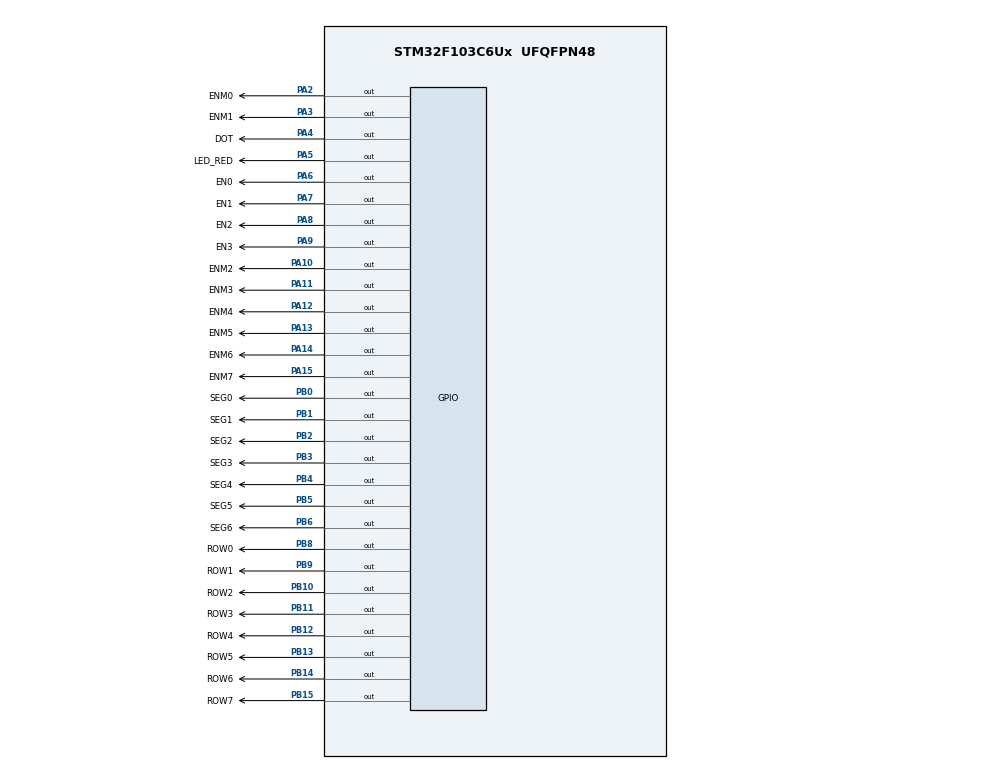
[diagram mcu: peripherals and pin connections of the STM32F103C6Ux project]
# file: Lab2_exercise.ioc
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Mcu.Family=STM32F1
Mcu.Name=STM32F103C6Ux
Mcu.Package=UFQFPN48
NVIC.PriorityGroup=NVIC_PRIORITYGROUP_4
NVIC.TIM2_IRQn=true\:0\:0\:false\:false\:true\:true\:true
PA10.GPIO_Label=ENM2
PA10.Signal=GPIO_Output
PA11.GPIO_Label=ENM3
PA11.Signal=GPIO_Output
PA12.GPIO_Label=ENM4
PA12.Signal=GPIO_Output
PA13.GPIO_Label=ENM5
PA13.Signal=GPIO_Output
PA14.GPIO_Label=ENM6
PA14.Signal=GPIO_Output
PA15.GPIO_Label=ENM7
PA15.Signal=GPIO_Output
PA2.GPIO_Label=ENM0
PA2.Signal=GPIO_Output
PA3.GPIO_Label=ENM1
PA3.Signal=GPIO_Output
PA4.GPIO_Label=DOT
PA4.Signal=GPIO_Output
PA5.GPIO_Label=LED_RED
PA5.Signal=GPIO_Output
PA6.GPIO_Label=EN0
PA6.Signal=GPIO_Output
PA7.GPIO_Label=EN1
PA7.Signal=GPIO_Output
PA8.GPIO_Label=EN2
PA8.Signal=GPIO_Output
PA9.GPIO_Label=EN3
PA9.Signal=GPIO_Output
PB0.GPIO_Label=SEG0
PB0.Signal=GPIO_Output
PB1.GPIO_Label=SEG1
PB1.Signal=GPIO_Output
PB10.GPIO_Label=ROW2
PB10.Signal=GPIO_Output
PB11.GPIO_Label=ROW3
PB11.Signal=GPIO_Output
PB12.GPIO_Label=ROW4
PB12.Signal=GPIO_Output
PB13.GPIO_Label=ROW5
PB13.Signal=GPIO_Output
PB14.GPIO_Label=ROW6
PB14.Signal=GPIO_Output
PB15.GPIO_Label=ROW7
PB15.Signal=GPIO_Output
PB2.GPIO_Label=SEG2
PB2.Signal=GPIO_Output
PB3.GPIO_Label=SEG3
PB3.Signal=GPIO_Output
PB4.GPIO_Label=SEG4
PB4.Signal=GPIO_Output
PB5.GPIO_Label=SEG5
PB5.Signal=GPIO_Output
PB6.GPIO_Label=SEG6
PB6.Signal=GPIO_Output
PB8.GPIO_Label=ROW0
PB8.Signal=GPIO_Output
PB9.GPIO_Label=ROW1
PB9.Signal=GPIO_Output
ProjectManager.HeapSize=0x200
ProjectManager.StackSize=0x400
ProjectManager.TargetToolchain=STM32CubeIDE
RCC.APB1Freq_Value=8000000
RCC.APB2Freq_Value=8000000
TIM2.Period=9
TIM2.Prescaler=7999
VP_SYS_VS_ND.Mode=No_Debug
VP_TIM2_VS_ClockSourceINT.Mode=Internal
board=custom

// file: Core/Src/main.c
/* USER CODE BEGIN Header */
/**
  ******************************************************************************
  * @file           : main.c
  * @brief          : Main program body
  ******************************************************************************
  * @attention
  *
  * <h2><center>&copy; Copyright (c) 2023 STMicroelectronics.
  * All rights reserved.</center></h2>
  *
  * This software component is licensed by ST under BSD 3-Clause license,
  * the "License"; You may not use this file except in compliance with the
  * License. You may obtain a copy of the License at:
  *                        opensource.org/licenses/BSD-3-Clause
  *
  ******************************************************************************
  */
/* USER CODE END Header */
#include "main.h"

/* USER CODE BEGIN Includes */
#include "software_timer.h"
/* USER CODE END Includes */

TIM_HandleTypeDef htim2;

void SystemClock_Config(void);
static void MX_GPIO_Init(void);
static void MX_TIM2_Init(void);

int main(void)
{
  /* USER CODE BEGIN 1 */
const int NumCases[]={
		0b00111111,
		0b00000110,
		0b01011011,
		0b01001111,
		0b01100110,
		0b01101101,
		0b01111101,
		0b00000111,
		0b01111111,
		0b01101111
};
void display7SEG(int num){
	HAL_GPIO_WritePin(GPIOB, GPIO_PIN_All, GPIO_PIN_SET);
	HAL_GPIO_WritePin(GPIOB, NumCases[num], GPIO_PIN_RESET);
}

const int MAX_LED = 4;
int index_led = 0;
int led_buffer[4] = {1, 2, 3, 4};
void update7SEG(int index){
    switch (index){
        case 0:
            //Display the first 7SEG with led_buffer[0]
        	HAL_GPIO_WritePin(EN0_GPIO_Port, EN0_Pin, RESET);
			HAL_GPIO_WritePin(EN1_GPIO_Port, EN1_Pin, SET);
			HAL_GPIO_WritePin(EN2_GPIO_Port, EN2_Pin, SET);
			HAL_GPIO_WritePin(EN3_GPIO_Port, EN3_Pin, SET);
            break;
        case 1:
			//Display the second 7SEG with led_buffer[1]
			HAL_GPIO_WritePin(EN0_GPIO_Port, EN0_Pin, SET);
			HAL_GPIO_WritePin(EN1_GPIO_Port, EN1_Pin, RESET);
			HAL_GPIO_WritePin(EN2_GPIO_Port, EN2_Pin, SET);
			HAL_GPIO_WritePin(EN3_GPIO_Port, EN3_Pin, SET);
            break;
        case 2:
			//Display the third 7SEG with led_buffer[2]
			HAL_GPIO_WritePin(EN0_GPIO_Port, EN0_Pin, SET);
			HAL_GPIO_WritePin(EN1_GPIO_Port, EN1_Pin, SET);
			HAL_GPIO_WritePin(EN2_GPIO_Port, EN2_Pin, RESET);
			HAL_GPIO_WritePin(EN3_GPIO_Port, EN3_Pin, SET);
            break;
        case 3:
            //Display the forth 7SEG with led_buffer[3]
			HAL_GPIO_WritePin(EN0_GPIO_Port, EN0_Pin, SET);
			HAL_GPIO_WritePin(EN1_GPIO_Port, EN1_Pin, SET);
			HAL_GPIO_WritePin(EN2_GPIO_Port, EN2_Pin, SET);
			HAL_GPIO_WritePin(EN3_GPIO_Port, EN3_Pin, RESET);
            break;
        default:
            break;
    }
    display7SEG(led_buffer[index]);
}

void updateClockBuffer(int hour, int minute){
	led_buffer[0] = hour / 10;
	led_buffer[1] = hour % 10;
	led_buffer[2] = minute / 10;
	led_buffer[3] = minute % 10;
}

const int MAX_LED_MATRIX = 8;
int index_led_matrix = 0;
uint8_t matrix_buffer[8] = {
0b11100111,
0b11000011,
0b10011001,
0b10011001,
0b10000001,
0b10000001,
0b10011001,
0b10011001
};//A, binary to see it easier
void displayARow(int num) {
	uint8_t matrix = matrix_buffer[num];
	HAL_GPIO_WritePin(ENM0_GPIO_Port, ENM0_Pin, (matrix>>0) & 0x01 ? 1 : 0);
	HAL_GPIO_WritePin(ENM1_GPIO_Port, ENM1_Pin, (matrix>>1) & 0x01 ? 1 : 0);
	HAL_GPIO_WritePin(ENM2_GPIO_Port, ENM2_Pin, (matrix>>2) & 0x01 ? 1 : 0);
	HAL_GPIO_WritePin(ENM3_GPIO_Port, ENM3_Pin, (matrix>>3) & 0x01 ? 1 : 0);
	HAL_GPIO_WritePin(ENM4_GPIO_Port, ENM4_Pin, (matrix>>4) & 0x01 ? 1 : 0);
	HAL_GPIO_WritePin(ENM5_GPIO_Port, ENM5_Pin, (matrix>>5) & 0x01 ? 1 : 0);
	HAL_GPIO_WritePin(ENM6_GPIO_Port, ENM6_Pin, (matrix>>6) & 0x01 ? 1 : 0);
	HAL_GPIO_WritePin(ENM7_GPIO_Port, ENM7_Pin, (matrix>>7) & 0x01 ? 1 : 0);
}

void ledGoUwU(){
	uint8_t temp = matrix_buffer[0];
	for (int i = 0; i<MAX_LED_MATRIX - 1; i++){
		matrix_buffer[i]= matrix_buffer[i+1];
	}
	matrix_buffer[7] = temp;
}

void updateLEDMatrix (int index ) {
	switch (index){
		case 0:	/* ROW0 */
			HAL_GPIO_WritePin(ROW0_GPIO_Port, ROW0_Pin, 0);
			displayARow(index);
			break;
		case 1:	/* ROW1 */
			HAL_GPIO_WritePin(ROW0_GPIO_Port, ROW1_Pin, 0);
			displayARow(index);
			break;
		case 2:	/* ROW2 */
			HAL_GPIO_WritePin(ROW0_GPIO_Port, ROW2_Pin, 0);
			displayARow(index);
			break;
		case 3:	/* ROW3 */
			HAL_GPIO_WritePin(ROW0_GPIO_Port, ROW3_Pin, 0);
			displayARow(index);
			break;
		case 4:	/* ROW4 */
			HAL_GPIO_WritePin(ROW0_GPIO_Port, ROW4_Pin, 0);
			displayARow(index);
			break;
		case 5:	/* ROW5 */
			HAL_GPIO_WritePin(ROW0_GPIO_Port, ROW5_Pin, 0);
			displayARow(index);
			break;
		case 6:	/* ROW6 */
			HAL_GPIO_WritePin(ROW0_GPIO_Port, ROW6_Pin, 0);
			displayARow(index);
			break;
		case 7:	/* ROW7 */
			HAL_GPIO_WritePin(ROW0_GPIO_Port, ROW7_Pin, 0);
			displayARow(index);
			break;
		default:
			break;
		}
}

  /* USER CODE END 1 */

  /* MCU Configuration--------------------------------------------------------*/

  /* Reset of all peripherals, Initializes the Flash interface and the Systick. */
  HAL_Init();

  /* Configure the system clock */
  SystemClock_Config();

  /* Initialize all configured peripherals */
  MX_GPIO_Init();
  MX_TIM2_Init();
  /* USER CODE BEGIN 2 */
  HAL_TIM_Base_Start_IT(&htim2);
  /* USER CODE END 2 */

  /* Infinite loop */
  /* USER CODE BEGIN WHILE */
  	  setTimer1(10);
      setTimer2(10);
      setTimer3(10);
      setTimer4(10);
      int hour = 12, minute = 34, second = 56;
      updateClockBuffer(hour, minute);
      int secondCounter = 0; //4 is a second, 1s run 4 led, 1 led 0.25 s, update time 1s
      while (1)
      {
    	  if(timer1_flag == 1) {
    		  HAL_GPIO_TogglePin ( LED_RED_GPIO_Port , LED_RED_Pin );
    		  setTimer1(2000);
    	  }
    	  if (timer2_flag == 1){
    		  HAL_GPIO_TogglePin(DOT_GPIO_Port, DOT_Pin);
    		  setTimer2(500);
    	  }
    	  if (timer3_flag ==1){
    		  update7SEG(index_led++);
    		  setTimer3(250);
    		  secondCounter++;
    		  if (secondCounter == 4){ // a second
    			  second++;
    			  if (second >= 60){
    				  second = 0;
    				  minute++;
    			  }
    			  if(minute >= 60){
    				  minute = 0;
    				  hour++;
    			  }
    			  if(hour >=24) hour = 0;
    			  updateClockBuffer(hour, minute);
    			  secondCounter %= 4;
    			  index_led = 0;
    		 }
    	 }
    	 if(timer4_flag == 1) {
    	  		  setTimer4(180);
    	  		  updateLEDMatrix(index_led_matrix++);
    	  		  if(index_led_matrix == MAX_LED_MATRIX){
    	  			  ledGoUwU();
    	  			  index_led_matrix = 0;
    	  		  }
    	 }
    /* USER CODE END WHILE */
      }
}

void SystemClock_Config(void)
{
  RCC_OscInitTypeDef RCC_OscInitStruct = {0};
  RCC_ClkInitTypeDef RCC_ClkInitStruct = {0};

  /** Initializes the RCC Oscillators according to the specified parameters
  * in the RCC_OscInitTypeDef structure.
  */
  RCC_OscInitStruct.OscillatorType = RCC_OSCILLATORTYPE_HSI;
  RCC_OscInitStruct.HSIState = RCC_HSI_ON;
  RCC_OscInitStruct.HSICalibrationValue = RCC_HSICALIBRATION_DEFAULT;
  RCC_OscInitStruct.PLL.PLLState = RCC_PLL_NONE;
  if (HAL_RCC_OscConfig(&RCC_OscInitStruct) != HAL_OK)
  {
    Error_Handler();
  }
  /** Initializes the CPU, AHB and APB buses clocks
  */
  RCC_ClkInitStruct.ClockType = RCC_CLOCKTYPE_HCLK|RCC_CLOCKTYPE_SYSCLK
                              |RCC_CLOCKTYPE_PCLK1|RCC_CLOCKTYPE_PCLK2;
  RCC_ClkInitStruct.SYSCLKSource = RCC_SYSCLKSOURCE_HSI;
  RCC_ClkInitStruct.AHBCLKDivider = RCC_SYSCLK_DIV1;
  RCC_ClkInitStruct.APB1CLKDivider = RCC_HCLK_DIV1;
  RCC_ClkInitStruct.APB2CLKDivider = RCC_HCLK_DIV1;

  if (HAL_RCC_ClockConfig(&RCC_ClkInitStruct, FLASH_LATENCY_0) != HAL_OK)
  {
    Error_Handler();
  }
}

static void MX_TIM2_Init(void)
{

  TIM_ClockConfigTypeDef sClockSourceConfig = {0};
  TIM_MasterConfigTypeDef sMasterConfig = {0};

  htim2.Instance = TIM2;
  htim2.Init.Prescaler = 7999;
  htim2.Init.CounterMode = TIM_COUNTERMODE_UP;
  htim2.Init.Period = 9;
  htim2.Init.ClockDivision = TIM_CLOCKDIVISION_DIV1;
  htim2.Init.AutoReloadPreload = TIM_AUTORELOAD_PRELOAD_DISABLE;
  if (HAL_TIM_Base_Init(&htim2) != HAL_OK)
  {
    Error_Handler();
  }
  sClockSourceConfig.ClockSource = TIM_CLOCKSOURCE_INTERNAL;
  if (HAL_TIM_ConfigClockSource(&htim2, &sClockSourceConfig) != HAL_OK)
  {
    Error_Handler();
  }
  sMasterConfig.MasterOutputTrigger = TIM_TRGO_RESET;
  sMasterConfig.MasterSlaveMode = TIM_MASTERSLAVEMODE_DISABLE;
  if (HAL_TIMEx_MasterConfigSynchronization(&htim2, &sMasterConfig) != HAL_OK)
  {
    Error_Handler();
  }

}

static void MX_GPIO_Init(void)
{
  GPIO_InitTypeDef GPIO_InitStruct = {0};

  /* GPIO Ports Clock Enable */
  __HAL_RCC_GPIOA_CLK_ENABLE();
  __HAL_RCC_GPIOB_CLK_ENABLE();

  /*Configure GPIO pin Output Level */
  HAL_GPIO_WritePin(GPIOA, ENM0_Pin|ENM1_Pin|DOT_Pin|LED_RED_Pin
                          |EN0_Pin|EN1_Pin|EN2_Pin|EN3_Pin
                          |ENM2_Pin|ENM3_Pin|ENM4_Pin|ENM5_Pin
                          |ENM6_Pin|ENM7_Pin, GPIO_PIN_RESET);

  /*Configure GPIO pin Output Level */
  HAL_GPIO_WritePin(GPIOB, SEG0_Pin|SEG1_Pin|SEG2_Pin|ROW2_Pin
                          |ROW3_Pin|ROW4_Pin|ROW5_Pin|ROW6_Pin
                          |ROW7_Pin|SEG3_Pin|SEG4_Pin|SEG5_Pin
                          |SEG6_Pin|ROW0_Pin|ROW1_Pin, GPIO_PIN_RESET);

  /*Configure GPIO pins : ENM0_Pin ENM1_Pin DOT_Pin LED_RED_Pin
                           EN0_Pin EN1_Pin EN2_Pin EN3_Pin
                           ENM2_Pin ENM3_Pin ENM4_Pin ENM5_Pin
                           ENM6_Pin ENM7_Pin */
  GPIO_InitStruct.Pin = ENM0_Pin|ENM1_Pin|DOT_Pin|LED_RED_Pin
                          |EN0_Pin|EN1_Pin|EN2_Pin|EN3_Pin
                          |ENM2_Pin|ENM3_Pin|ENM4_Pin|ENM5_Pin
                          |ENM6_Pin|ENM7_Pin;
  GPIO_InitStruct.Mode = GPIO_MODE_OUTPUT_PP;
  GPIO_InitStruct.Pull = GPIO_NOPULL;
  GPIO_InitStruct.Speed = GPIO_SPEED_FREQ_LOW;
  HAL_GPIO_Init(GPIOA, &GPIO_InitStruct);

  /*Configure GPIO pins : SEG0_Pin SEG1_Pin SEG2_Pin ROW2_Pin
                           ROW3_Pin ROW4_Pin ROW5_Pin ROW6_Pin
                           ROW7_Pin SEG3_Pin SEG4_Pin SEG5_Pin
                           SEG6_Pin ROW0_Pin ROW1_Pin */
  GPIO_InitStruct.Pin = SEG0_Pin|SEG1_Pin|SEG2_Pin|ROW2_Pin
                          |ROW3_Pin|ROW4_Pin|ROW5_Pin|ROW6_Pin
                          |ROW7_Pin|SEG3_Pin|SEG4_Pin|SEG5_Pin
                          |SEG6_Pin|ROW0_Pin|ROW1_Pin;
  GPIO_InitStruct.Mode = GPIO_MODE_OUTPUT_PP;
  GPIO_InitStruct.Pull = GPIO_NOPULL;
  GPIO_InitStruct.Speed = GPIO_SPEED_FREQ_LOW;
  HAL_GPIO_Init(GPIOB, &GPIO_InitStruct);

}

/* USER CODE BEGIN 4 */
void HAL_TIM_PeriodElapsedCallback(TIM_HandleTypeDef *htim){
	timerRun();
	//TODO2
};
/* USER CODE END 4 */

void Error_Handler(void)
{
  __disable_irq();
  while (1)
  {
  }
}

/************************ (C) COPYRIGHT STMicroelectronics *****END OF FILE****/
